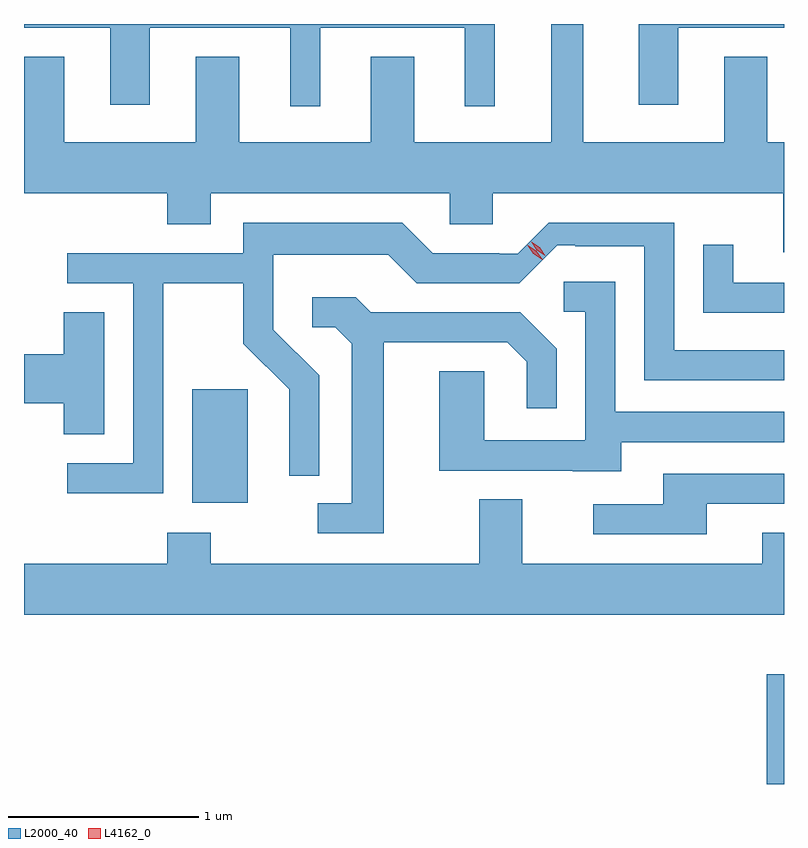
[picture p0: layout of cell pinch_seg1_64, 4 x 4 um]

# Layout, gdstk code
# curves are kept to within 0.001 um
import gdstk
lib = gdstk.Library(unit=1e-6, precision=1e-09)
def R(c, l, rs):  # rectangles x0, y0, x1, y1
    for r in rs: c.add(gdstk.rectangle(r[:2], r[2:], *l))
def P(c, l, *ps):  # polygons
    for p in ps: c.add(gdstk.Polygon(p, *l))
L2000_40 = (2000, 40)
L4162_0 = (4162, 0)

pinch_seg1_64 = lib.new_cell('pinch_seg1_64')
R(pinch_seg1_64, L2000_40, [(1025.226,876.486,1025.316,877.064), (1022.201,877.966,1022.494,878.564)])
P(pinch_seg1_64, L2000_40, [(1025.316,879.864),(1025.229,879.864),(1025.229,880.314),(1025.001,880.314),(1025.001,879.864),(1024.259,879.864),(1024.259,880.486),(1024.091,880.486),(1024.091,879.864),(1023.369,879.864),(1023.369,880.314),(1023.141,880.314),(1023.141,879.864),(1022.449,879.864),(1022.449,880.314),(1022.221,880.314),(1022.221,879.864),(1021.529,879.864),(1021.529,880.314),(1021.316,880.314),(1021.316,879.596),(1022.071,879.596),(1022.071,879.431),(1022.299,879.431),(1022.299,879.596),(1023.556,879.596),(1023.556,879.431),(1023.784,879.431),(1023.784,879.596),(1025.311,879.596),(1025.311,879.286),(1025.316,879.286)],
  [(1024.759,880.466),(1025.316,880.466),(1025.316,880.486),(1024.551,880.486),(1024.551,880.061),(1024.759,880.061)],
  [(1022.874,880.466),(1023.636,880.466),(1023.636,880.053),(1023.794,880.053),(1023.794,880.486),(1021.316,880.486),(1021.316,880.466),(1021.771,880.466),(1021.771,880.061),(1021.979,880.061),(1021.979,880.466),(1022.716,880.466),(1022.716,880.053),(1022.874,880.053)],
  [(1022.049,879.121),(1022.471,879.121),(1022.471,878.804),(1022.711,878.564),(1022.711,878.108),(1022.869,878.108),(1022.869,878.637),(1022.629,878.877),(1022.629,879.271),(1023.234,879.271),(1023.384,879.121),(1023.922,879.121),(1024.122,879.321),(1024.216,879.321),(1024.216,879.317),(1024.581,879.317),(1024.581,878.611),(1025.316,878.611),(1025.316,878.769),(1024.739,878.769),(1024.739,879.439),(1024.077,879.439),(1023.915,879.278),(1023.467,879.279),(1023.307,879.439),(1022.471,879.439),(1022.471,879.279),(1021.543,879.279),(1021.543,879.121),(1021.891,879.121),(1021.891,878.174),(1021.543,878.174),(1021.543,878.016),(1022.049,878.016)],
  [(1025.316,879.124),(1025.049,879.124),(1025.049,879.323),(1024.891,879.323),(1024.891,878.966),(1025.316,878.966)],
  [(1024.459,878.286),(1025.316,878.286),(1025.316,878.444),(1024.429,878.444),(1024.429,879.129),(1024.158,879.129),(1024.158,878.971),(1024.271,878.971),(1024.271,878.294),(1023.739,878.294),(1023.739,878.659),(1023.501,878.659),(1023.501,878.136),(1024.205,878.136),(1024.205,878.131),(1024.459,878.131)],
  [(1023.209,878.811),(1023.859,878.811),(1023.961,878.709),(1023.961,878.463),(1024.119,878.463),(1024.119,878.777),(1023.927,878.969),(1023.142,878.969),(1023.062,879.049),(1022.833,879.049),(1022.833,878.891),(1022.954,878.891),(1023.041,878.804),(1023.041,877.964),(1022.863,877.964),(1022.863,877.806),(1023.209,877.806)],
  [(1021.739,878.969),(1021.526,878.969),(1021.526,878.749),(1021.316,878.749),(1021.316,878.491),(1021.526,878.491),(1021.526,878.326),(1021.739,878.326)],
  [(1024.909,877.961),(1025.316,877.961),(1025.316,878.119),(1024.681,878.119),(1024.681,877.959),(1024.313,877.959),(1024.313,877.801),(1024.909,877.801)],
  [(1025.316,877.809),(1025.201,877.809),(1025.201,877.644),(1023.939,877.644),(1023.939,877.984),(1023.711,877.984),(1023.711,877.644),(1022.299,877.644),(1022.299,877.809),(1022.071,877.809),(1022.071,877.644),(1021.316,877.644),(1021.316,877.376),(1025.316,877.376)])
P(pinch_seg1_64, L4162_0, [(1024.059,879.266),(1024.015,879.296),(1023.985,879.34),(1023.985,879.34),(1023.985,879.34),(1024.03,879.31),(1024.06,879.267),(1024.06,879.266)],
  [(1024.044,879.245),(1023.997,879.278),(1023.964,879.325),(1023.964,879.325),(1023.964,879.325),(1024.012,879.292),(1024.045,879.245),(1024.045,879.245)])

lib.write_gds('pinch_seg1_64.gds')
